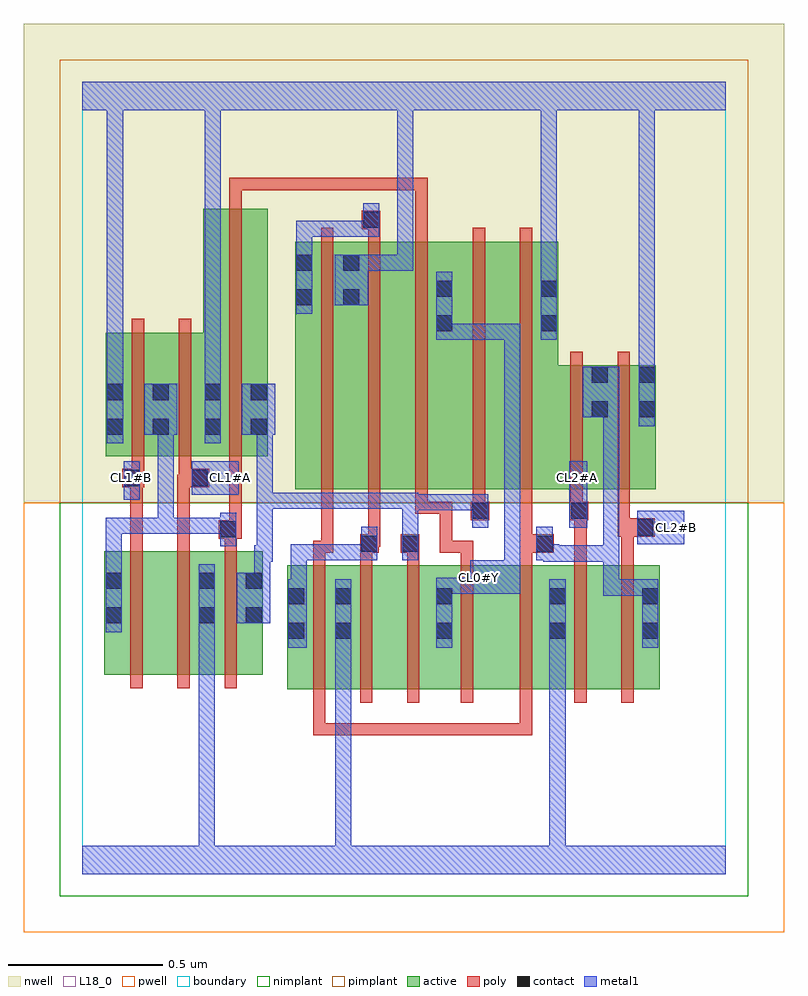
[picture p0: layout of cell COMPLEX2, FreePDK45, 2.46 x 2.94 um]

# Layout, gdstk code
import gdstk
lib = gdstk.Library(unit=1e-6, precision=1e-09)
def R(c, l, rs):  # rectangles x0, y0, x1, y1
    for r in rs: c.add(gdstk.rectangle(r[:2], r[2:], *l))
def A(c, l, x, y, w, h, nx, ny, dx, dy):  # array of equal rectangles
    R(c, l, [(x+i*dx, y+j*dy, x+i*dx+w, y+j*dy+h) for i in range(nx) for j in range(ny)])
active = (1, 0)
pwell = (2, 0)
nwell = (3, 0)
nimplant = (4, 0)
pimplant = (5, 0)
poly = (9, 0)
contact = (10, 0)
metal1 = (11, 0)
L18_0 = (18, 0)
boundary = (235, 0)

complex2 = lib.new_cell('COMPLEX2')
R(complex2, active, [(0.662,0.598,0.874,0.998), (0.814,0.598,0.994,0.998), (0.814,0.598,0.874,0.928), (0.994,0.598,1.2,0.998), (1.14,0.598,1.32,0.998), (1.32,0.598,1.566,0.998), (1.506,0.598,1.686,0.998), (1.686,0.598,1.866,0.998), (0.072,0.644,0.252,1.044), (0.072,0.644,0.132,1.044), (0.252,0.644,0.432,1.044), (0.372,0.644,0.584,1.044), (0.372,0.644,0.432,1.044), (0.524,0.644,0.584,1.044), (0.662,0.756,0.722,0.998), (1.14,0.756,1.2,0.928), (1.506,0.756,1.566,0.928), (1.806,0.756,1.866,0.998), (0.688,1.244,0.748,2.044), (0.688,1.244,0.9,2.044), (0.84,1.244,0.9,2.044), (0.84,1.244,1.02,2.044), (1.02,1.244,1.2,2.044), (1.14,1.244,1.2,2.044), (1.14,1.244,1.358,2.044), (1.358,1.244,1.538,2.044), (1.478,1.244,1.702,1.644), (1.478,1.244,1.538,2.044), (1.642,1.244,1.854,1.644), (1.642,1.244,1.702,1.644), (1.794,1.244,1.854,1.644), (0.076,1.35,0.136,1.75), (0.076,1.35,0.284,1.75), (0.224,1.35,0.452,1.75), (0.392,1.35,0.452,2.15), (0.392,1.35,0.6,2.15), (0.54,1.35,0.6,2.044), (0.224,1.416,0.284,1.75)])
R(complex2, pwell, [(-0.188,-0.188,2.268,1.2)])
R(complex2, nwell, [(-0.188,1.2,2.268,2.748)])
R(complex2, nimplant, [(-0.072,-0.072,2.152,1.2)])
R(complex2, pimplant, [(-0.072,1.2,2.152,2.632)])
A(complex2, poly, 0.746, 0.554, 0.04, 0.488, 3, 1, 0.152, 0)
A(complex2, poly, 0.156, 0.6, 0.04, 0.488, 3, 1, 0.152, 0)
A(complex2, poly, 0.746, 1.002, 0.04, 0.076, 3, 1, 0.152, 0)
A(complex2, poly, 0.772, 1.2, 0.04, 0.888, 3, 1, 0.152, 0)
R(complex2, poly, [(0.746,0.448,0.786,0.488), (0.746,0.448,0.786,0.488), (0.746,0.448,0.786,0.488), (0.746,0.448,0.786,0.594), (0.746,0.448,0.964,0.488), (0.924,0.448,0.964,0.488), (0.924,0.448,0.964,0.488), (0.924,0.448,0.964,0.488), (0.924,0.448,1.158,0.488), (1.118,0.448,1.158,0.488), (1.118,0.448,1.176,0.488), (1.136,0.448,1.176,0.488), (1.136,0.448,1.348,0.488), (1.308,0.448,1.348,0.488), (1.308,0.448,1.348,0.488), (1.308,0.448,1.348,0.488), (1.308,0.448,1.454,0.488), (1.414,0.448,1.454,0.488), (1.414,0.448,1.454,0.594), (1.224,0.554,1.264,1.042), (1.414,0.554,1.454,1.042), (1.59,0.554,1.63,1.042), (1.742,0.554,1.782,1.042), (1.224,1.002,1.264,1.078), (1.414,1.002,1.454,1.078), (1.59,1.002,1.63,1.184), (1.742,1.002,1.782,1.13), (0.746,1.038,0.812,1.078), (0.772,1.038,0.812,1.078), (0.772,1.038,0.812,1.078), (0.772,1.038,0.812,1.24), (0.898,1.038,0.958,1.098), (1.03,1.038,1.09,1.098), (1.156,1.038,1.196,1.078), (1.156,1.038,1.264,1.078), (1.156,1.038,1.196,1.204), (1.224,1.038,1.264,1.078), (1.414,1.038,1.524,1.098), (0.156,1.048,0.196,1.29), (0.308,1.048,0.348,1.29), (0.46,1.048,0.5,1.124), (0.918,1.058,0.958,1.098), (0.918,1.058,0.964,1.098), (0.924,1.058,0.964,1.24), (1.414,1.058,1.454,1.098), (1.414,1.058,1.454,1.098), (1.414,1.058,1.454,1.24), (0.442,1.084,0.516,1.144), (1.73,1.09,1.85,1.15), (1.742,1.09,1.782,1.13), (1.742,1.09,1.782,1.13), (0.476,1.104,0.516,1.144), (0.476,1.104,0.516,1.144), (0.476,1.104,0.516,1.346), (1.73,1.11,1.77,1.24), (1.256,1.144,1.316,1.204), (1.576,1.144,1.636,1.204), (1.59,1.144,1.63,1.184), (1.59,1.144,1.63,1.184), (1.076,1.164,1.116,1.204), (1.076,1.164,1.116,1.24), (1.076,1.164,1.196,1.204), (1.156,1.164,1.196,1.204), (1.262,1.164,1.302,1.24), (1.578,1.164,1.618,1.24), (1.262,1.2,1.302,2.088), (1.414,1.2,1.454,2.088), (1.578,1.2,1.618,1.688), (1.73,1.2,1.77,1.688), (0.13,1.25,0.2,1.31), (0.156,1.25,0.196,1.29), (0.156,1.25,0.196,1.29), (0.308,1.25,0.352,1.29), (0.312,1.25,0.352,1.29), (0.312,1.25,0.41,1.31), (0.16,1.27,0.2,1.346), (0.312,1.27,0.352,1.346), (0.16,1.306,0.2,1.794), (0.312,1.306,0.352,1.794), (0.476,1.306,0.516,2.194), (0.924,2.048,0.964,2.124), (1.076,2.048,1.116,2.25), (0.904,2.084,0.964,2.144), (0.476,2.154,0.516,2.25), (0.476,2.21,0.516,2.25), (0.476,2.21,0.516,2.25), (0.476,2.21,0.516,2.25), (0.476,2.21,0.68,2.25), (0.64,2.21,0.68,2.25), (0.64,2.21,0.786,2.25), (0.746,2.21,0.786,2.25), (0.746,2.21,0.786,2.25), (0.746,2.21,0.786,2.25), (0.746,2.21,0.786,2.25), (0.746,2.21,0.786,2.25), (0.746,2.21,0.964,2.25), (0.924,2.21,0.964,2.25), (0.924,2.21,1.07,2.25), (1.03,2.21,1.07,2.25), (1.03,2.21,1.07,2.25), (1.03,2.21,1.07,2.25), (1.03,2.21,1.116,2.25), (1.076,2.21,1.116,2.25)])
R(complex2, contact, [(0.666,0.76,0.718,0.812), (0.818,0.76,0.87,0.812), (1.144,0.76,1.196,0.812), (1.51,0.76,1.562,0.812), (1.81,0.76,1.862,0.812), (0.076,0.81,0.128,0.862), (0.376,0.81,0.428,0.862), (0.528,0.81,0.58,0.862), (0.666,0.872,0.718,0.924), (0.818,0.872,0.87,0.924), (1.144,0.872,1.196,0.924), (1.51,0.872,1.562,0.924), (1.81,0.872,1.862,0.924), (0.076,0.922,0.128,0.974), (0.376,0.922,0.428,0.974), (0.528,0.922,0.58,0.974), (0.902,1.042,0.954,1.094), (1.034,1.042,1.086,1.094), (1.468,1.042,1.52,1.094), (0.446,1.088,0.498,1.14), (1.794,1.094,1.846,1.146), (1.26,1.148,1.312,1.2), (1.58,1.148,1.632,1.2), (0.134,1.254,0.186,1.306), (0.354,1.254,0.406,1.306), (0.08,1.42,0.132,1.472), (0.228,1.42,0.28,1.472), (0.396,1.42,0.448,1.472), (0.544,1.42,0.596,1.472), (1.646,1.476,1.698,1.528), (1.798,1.476,1.85,1.528), (0.08,1.532,0.132,1.584), (0.228,1.532,0.28,1.584), (0.396,1.532,0.448,1.584), (0.544,1.532,0.596,1.584), (1.646,1.588,1.698,1.64), (1.798,1.588,1.85,1.64), (1.144,1.754,1.196,1.806), (1.482,1.754,1.534,1.806), (0.692,1.838,0.744,1.89), (0.844,1.838,0.896,1.89), (1.144,1.866,1.196,1.918), (1.482,1.866,1.534,1.918), (0.692,1.95,0.744,2.002), (0.844,1.95,0.896,2.002), (0.908,2.088,0.96,2.14)])
R(complex2, metal1, [(0,0,2.08,0.092), (0.376,0.04,0.428,0.092), (0.376,0.04,0.428,0.092), (0.376,0.04,0.428,0.092), (0.376,0.04,0.428,0.092), (0.376,0.04,0.428,0.092), (0.376,0.04,0.428,0.092), (0.376,0.04,0.428,0.092), (0.376,0.04,0.428,0.092), (0.376,0.04,0.428,0.092), (0.376,0.04,0.428,0.092), (0.376,0.04,0.428,0.834), (0.818,0.04,0.87,0.092), (0.818,0.04,0.87,0.092), (0.818,0.04,0.87,0.092), (0.818,0.04,0.87,0.092), (0.818,0.04,0.87,0.092), (0.818,0.04,0.87,0.092), (0.818,0.04,0.87,0.092), (0.818,0.04,0.87,0.092), (0.818,0.04,0.87,0.092), (0.818,0.04,0.87,0.092), (0.818,0.04,0.87,0.784), (1.51,0.04,1.562,0.092), (1.51,0.04,1.562,0.092), (1.51,0.04,1.562,0.784), (0.666,0.732,0.726,0.952), (0.818,0.732,0.87,0.784), (0.818,0.732,0.87,0.784), (0.818,0.732,0.87,0.952), (1.144,0.732,1.196,0.952), (1.51,0.732,1.562,0.784), (1.51,0.732,1.562,0.784), (1.51,0.732,1.562,0.784), (1.51,0.732,1.562,0.784), (1.51,0.732,1.562,0.784), (1.51,0.732,1.562,0.784), (1.51,0.732,1.562,0.784), (1.51,0.732,1.562,0.784), (1.51,0.732,1.562,0.784), (1.51,0.732,1.562,0.784), (1.51,0.732,1.562,0.952), (1.81,0.732,1.862,0.952), (0.076,0.782,0.128,1.002), (0.376,0.782,0.428,0.834), (0.376,0.782,0.428,0.834), (0.376,0.782,0.428,1.002), (0.5,0.81,0.608,0.974), (0.674,0.9,0.726,1.066), (1.144,0.9,1.196,0.958), (1.684,0.9,1.736,0.952), (1.684,0.9,1.862,0.952), (1.684,0.9,1.736,1.062), (1.81,0.9,1.862,0.952), (1.81,0.9,1.862,0.952), (1.144,0.906,1.196,0.958), (1.144,0.906,1.196,0.958), (1.144,0.906,1.196,0.958), (1.144,0.906,1.306,0.958), (1.254,0.906,1.416,1.014), (0.556,0.922,0.608,1.062), (0.076,0.95,0.128,1.152), (1.364,0.962,1.416,1.014), (1.364,0.962,1.416,1.014), (1.364,0.962,1.416,1.778), (0.556,1.01,0.616,1.062), (0.564,1.01,0.616,1.232), (1.49,1.01,1.736,1.062), (1.49,1.01,1.542,1.066), (1.684,1.01,1.736,1.062), (1.684,1.01,1.736,1.062), (1.684,1.01,1.736,1.062), (1.684,1.01,1.736,1.528), (0.674,1.014,0.726,1.066), (0.674,1.014,0.726,1.066), (0.674,1.014,0.726,1.066), (0.674,1.014,0.954,1.066), (0.902,1.014,0.954,1.066), (0.902,1.014,0.954,1.066), (0.902,1.014,0.954,1.122), (1.034,1.014,1.086,1.122), (1.468,1.014,1.542,1.066), (1.468,1.014,1.52,1.122), (0.446,1.06,0.498,1.168), (1.794,1.066,1.946,1.174), (1.034,1.07,1.086,1.122), (1.034,1.07,1.086,1.122), (1.034,1.07,1.086,1.228), (0.076,1.1,0.128,1.152), (0.076,1.1,0.128,1.152), (0.076,1.1,0.128,1.152), (0.076,1.1,0.296,1.152), (0.244,1.1,0.296,1.152), (0.244,1.1,0.296,1.152), (0.244,1.1,0.296,1.152), (0.244,1.1,0.296,1.152), (0.244,1.1,0.296,1.152), (0.244,1.1,0.442,1.152), (0.244,1.1,0.296,1.472), (0.39,1.1,0.442,1.152), (0.39,1.1,0.498,1.152), (1.26,1.12,1.312,1.228), (1.574,1.12,1.632,1.334), (1.034,1.176,1.086,1.228), (1.034,1.176,1.086,1.228), (1.034,1.176,1.086,1.232), (1.034,1.176,1.196,1.228), (1.144,1.176,1.196,1.228), (1.144,1.176,1.312,1.228), (0.564,1.18,0.616,1.232), (0.564,1.18,0.616,1.232), (0.564,1.18,0.616,1.232), (0.564,1.18,0.814,1.232), (0.564,1.18,0.616,1.472), (0.762,1.18,0.814,1.232), (0.762,1.18,0.96,1.232), (0.908,1.18,0.96,1.232), (0.908,1.18,0.96,1.232), (0.908,1.18,0.96,1.232), (0.908,1.18,1.086,1.232), (0.134,1.21,0.186,1.334), (0.354,1.226,0.506,1.334), (0.08,1.392,0.132,1.612), (0.396,1.392,0.448,1.612), (0.2,1.42,0.308,1.584), (0.516,1.42,0.624,1.584), (1.798,1.448,1.85,1.668), (1.618,1.476,1.736,1.64), (1.684,1.476,1.736,1.528), (1.684,1.476,1.736,1.528), (0.08,1.56,0.132,2.52), (0.396,1.56,0.448,1.612), (0.396,1.56,0.448,1.612), (0.396,1.56,0.448,2.52), (1.798,1.616,1.85,1.668), (1.798,1.616,1.85,1.668), (1.798,1.616,1.85,2.52), (1.144,1.726,1.196,1.778), (1.144,1.726,1.196,1.778), (1.144,1.726,1.196,1.946), (1.144,1.726,1.416,1.778), (1.364,1.726,1.416,1.778), (1.482,1.726,1.534,1.946), (0.692,1.81,0.744,2.03), (0.816,1.838,0.924,2.002), (1.482,1.894,1.534,2.52), (0.872,1.95,0.924,2.002), (0.872,1.95,0.924,2.002), (0.872,1.95,1.07,2.002), (1.018,1.95,1.07,2.002), (1.018,1.95,1.07,2.002), (1.018,1.95,1.07,2.002), (1.018,1.95,1.07,2.002), (1.018,1.95,1.07,2.002), (1.018,1.95,1.07,2.52), (0.692,1.978,0.744,2.112), (0.692,2.06,0.744,2.112), (0.692,2.06,0.744,2.112), (0.692,2.06,0.744,2.112), (0.692,2.06,0.96,2.112), (0.908,2.06,0.96,2.112), (0.908,2.06,0.96,2.112), (0.908,2.06,0.96,2.168), (0,2.468,2.08,2.56), (0.08,2.468,0.132,2.52), (0.08,2.468,0.132,2.52), (0.08,2.468,0.132,2.52), (0.08,2.468,0.132,2.52), (0.08,2.468,0.132,2.52), (0.08,2.468,0.132,2.52), (0.08,2.468,0.132,2.52), (0.08,2.468,0.132,2.52), (0.08,2.468,0.132,2.52), (0.08,2.468,0.132,2.52), (0.08,2.468,0.132,2.52), (0.08,2.468,0.132,2.52), (0.08,2.468,0.132,2.52), (0.08,2.468,0.132,2.52), (0.08,2.468,0.132,2.52), (0.08,2.468,0.132,2.52), (0.396,2.468,0.448,2.52), (0.396,2.468,0.448,2.52), (0.396,2.468,0.448,2.52), (0.396,2.468,0.448,2.52), (0.396,2.468,0.448,2.52), (0.396,2.468,0.448,2.52), (1.018,2.468,1.07,2.52), (1.018,2.468,1.07,2.52), (1.018,2.468,1.07,2.52), (1.018,2.468,1.07,2.52), (1.482,2.468,1.534,2.52), (1.482,2.468,1.534,2.52), (1.482,2.468,1.534,2.52), (1.482,2.468,1.534,2.52), (1.482,2.468,1.534,2.52), (1.482,2.468,1.534,2.52), (1.482,2.468,1.534,2.52), (1.482,2.468,1.534,2.52), (1.798,2.468,1.85,2.52), (1.798,2.468,1.85,2.52), (1.798,2.468,1.85,2.52), (1.798,2.468,1.85,2.52), (1.798,2.468,1.85,2.52), (1.798,2.468,1.85,2.52), (1.798,2.468,1.85,2.52), (1.798,2.468,1.85,2.52), (1.798,2.468,1.85,2.52), (1.798,2.468,1.85,2.52), (1.798,2.468,1.85,2.52), (1.798,2.468,1.85,2.52), (1.798,2.468,1.85,2.52), (1.798,2.468,1.85,2.52)])
R(complex2, L18_0, [(0,0,2.08,0.092), (0.376,0.04,0.428,0.092), (0.376,0.04,0.428,0.092), (0.376,0.04,0.428,0.092), (0.376,0.04,0.428,0.092), (0.376,0.04,0.428,0.092), (0.376,0.04,0.428,0.092), (0.376,0.04,0.428,0.092), (0.376,0.04,0.428,0.092), (0.376,0.04,0.428,0.092), (0.376,0.04,0.428,0.092), (0.376,0.04,0.428,0.834), (0.818,0.04,0.87,0.092), (0.818,0.04,0.87,0.092), (0.818,0.04,0.87,0.092), (0.818,0.04,0.87,0.092), (0.818,0.04,0.87,0.092), (0.818,0.04,0.87,0.092), (0.818,0.04,0.87,0.092), (0.818,0.04,0.87,0.092), (0.818,0.04,0.87,0.092), (0.818,0.04,0.87,0.092), (0.818,0.04,0.87,0.784), (1.51,0.04,1.562,0.092), (1.51,0.04,1.562,0.092), (1.51,0.04,1.562,0.784), (0.818,0.732,0.87,0.952), (0.818,0.732,0.87,0.784), (0.818,0.732,0.87,0.784), (1.144,0.732,1.196,0.952), (1.51,0.732,1.562,0.952), (1.51,0.732,1.562,0.784), (1.51,0.732,1.562,0.784), (1.51,0.732,1.562,0.784), (1.51,0.732,1.562,0.784), (1.51,0.732,1.562,0.784), (1.51,0.732,1.562,0.784), (1.51,0.732,1.562,0.784), (1.51,0.732,1.562,0.784), (1.51,0.732,1.562,0.784), (1.51,0.732,1.562,0.784), (0.376,0.782,0.428,1.002), (0.376,0.782,0.428,0.834), (0.376,0.782,0.428,0.834), (1.144,0.9,1.196,0.958), (1.144,0.906,1.196,0.958), (1.144,0.906,1.196,0.958), (1.144,0.906,1.196,0.958), (1.144,0.906,1.306,0.958), (1.254,0.906,1.416,1.014), (1.254,0.934,1.306,0.986), (1.364,0.962,1.416,1.014), (1.364,0.962,1.416,1.014), (1.364,0.962,1.416,1.778), (1.794,1.066,1.946,1.174), (1.894,1.094,1.946,1.146), (1.574,1.12,1.632,1.334), (0.134,1.21,0.186,1.334), (0.354,1.226,0.506,1.334), (0.134,1.254,0.186,1.306), (0.454,1.254,0.506,1.306), (1.574,1.254,1.626,1.306), (0.08,1.392,0.132,1.612), (0.396,1.392,0.448,1.612), (1.798,1.448,1.85,1.668), (0.08,1.56,0.132,2.52), (0.396,1.56,0.448,1.612), (0.396,1.56,0.448,1.612), (0.396,1.56,0.448,2.52), (1.798,1.616,1.85,1.668), (1.798,1.616,1.85,1.668), (1.798,1.616,1.85,2.52), (1.144,1.726,1.196,1.946), (1.144,1.726,1.196,1.778), (1.144,1.726,1.196,1.778), (1.144,1.726,1.416,1.778), (1.364,1.726,1.416,1.778), (1.482,1.726,1.534,1.946), (0.816,1.838,0.924,2.002), (1.482,1.894,1.534,2.52), (0.872,1.95,0.924,2.002), (0.872,1.95,0.924,2.002), (0.872,1.95,1.07,2.002), (1.018,1.95,1.07,2.002), (1.018,1.95,1.07,2.002), (1.018,1.95,1.07,2.002), (1.018,1.95,1.07,2.002), (1.018,1.95,1.07,2.002), (1.018,1.95,1.07,2.52), (0,2.468,2.08,2.56), (0.08,2.468,0.132,2.52), (0.08,2.468,0.132,2.52), (0.08,2.468,0.132,2.52), (0.08,2.468,0.132,2.52), (0.08,2.468,0.132,2.52), (0.08,2.468,0.132,2.52), (0.08,2.468,0.132,2.52), (0.08,2.468,0.132,2.52), (0.08,2.468,0.132,2.52), (0.08,2.468,0.132,2.52), (0.08,2.468,0.132,2.52), (0.08,2.468,0.132,2.52), (0.08,2.468,0.132,2.52), (0.08,2.468,0.132,2.52), (0.08,2.468,0.132,2.52), (0.08,2.468,0.132,2.52), (0.396,2.468,0.448,2.52), (0.396,2.468,0.448,2.52), (0.396,2.468,0.448,2.52), (0.396,2.468,0.448,2.52), (0.396,2.468,0.448,2.52), (0.396,2.468,0.448,2.52), (1.018,2.468,1.07,2.52), (1.018,2.468,1.07,2.52), (1.018,2.468,1.07,2.52), (1.018,2.468,1.07,2.52), (1.482,2.468,1.534,2.52), (1.482,2.468,1.534,2.52), (1.482,2.468,1.534,2.52), (1.482,2.468,1.534,2.52), (1.482,2.468,1.534,2.52), (1.482,2.468,1.534,2.52), (1.482,2.468,1.534,2.52), (1.482,2.468,1.534,2.52), (1.798,2.468,1.85,2.52), (1.798,2.468,1.85,2.52), (1.798,2.468,1.85,2.52), (1.798,2.468,1.85,2.52), (1.798,2.468,1.85,2.52), (1.798,2.468,1.85,2.52), (1.798,2.468,1.85,2.52), (1.798,2.468,1.85,2.52), (1.798,2.468,1.85,2.52), (1.798,2.468,1.85,2.52), (1.798,2.468,1.85,2.52), (1.798,2.468,1.85,2.52), (1.798,2.468,1.85,2.52), (1.798,2.468,1.85,2.52)])
R(complex2, boundary, [(0,0,2.08,2.56)])
complex2.add(gdstk.Label('CL0#Y', (1.28,0.96), layer=11, texttype=0))
complex2.add(gdstk.Label('CL1#A', (0.48,1.28), layer=11, texttype=0))
complex2.add(gdstk.Label('CL1#B', (0.16,1.28), layer=11, texttype=0))
complex2.add(gdstk.Label('CL2#A', (1.6,1.28), layer=11, texttype=0))
complex2.add(gdstk.Label('CL2#B', (1.92,1.12), layer=11, texttype=0))

lib.write_gds('COMPLEX2.gds')
